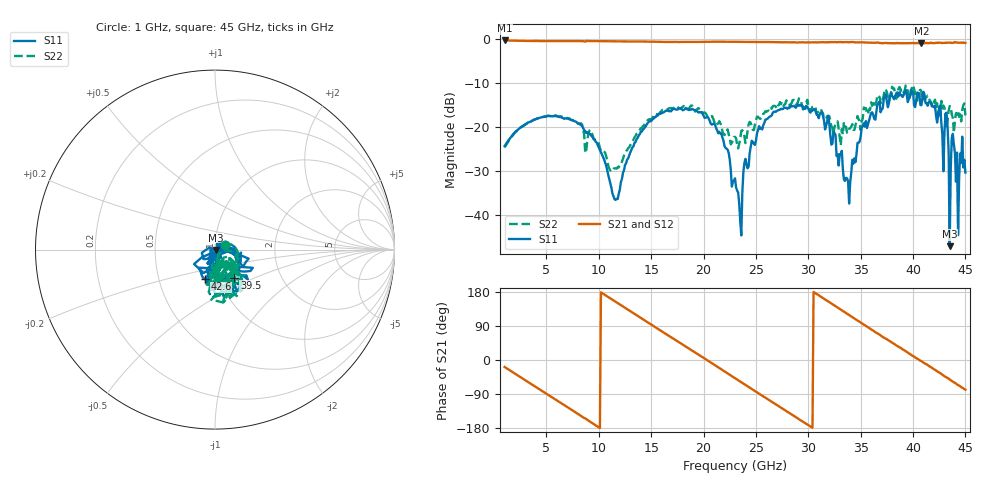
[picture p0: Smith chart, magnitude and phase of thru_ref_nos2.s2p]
!Keysight Technologies,N5247B,MY61255062,A.19.80.06
!Date: Monday, May 18, 2026 12:58:49
!Correction: S11(Cdelta 2-Port  )
!S21(Cdelta 2-Port  )
!S12(Cdelta 2-Port  )
!S22(Cdelta 2-Port  )
!S2P File: Measurements: S11, S21, S12, S22:
# Hz S  dB  R 50
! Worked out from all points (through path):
!   441 points, 1 GHz to 45 GHz, reference 50 ohm
!   highest |S21| = -0.39 dB at 1 GHz (marker M1); lowest = -1.1 dB at 40.8 GHz (marker M2)
!   group delay of S21, straight-line fit = 49.2 ps
!   lowest |S11| = -47.0 dB at 43.5 GHz (marker M3), VSWR 1.01, Z = 50.4 - j0.209 ohm
!   |S11| at or under -10 dB: start of sweep to end of sweep
!   |S22| runs from -29.9 to -10.5 dB; largest |S21 - S12| = 0.019
!   S11 on the Smith chart (normalised r, x): 1 GHz: 1.12, +0.06; 39.5 GHz: 1.17, -0.38; 42.6 GHz: 0.85, -0.29; 45 GHz: 1.05, +0.04
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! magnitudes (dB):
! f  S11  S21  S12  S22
! 1 GHz  -24.3  -0.4  -0.4  -24.6
! 4.6 GHz  -17.8  -0.5  -0.5  -17.7
! 8.4 GHz  -19.8  -0.6  -0.5  -19.5
! 11.6 GHz  -36.5  -0.6  -0.6  -29.4
! 15.7 GHz  -17.1  -0.7  -0.7  -17.1
! 20.4 GHz  -17.7  -0.7  -0.7  -17.7
! 23 GHz  -31.6  -0.7  -0.7  -22.3
! 23.5 GHz  -41.4  -0.7  -0.7  -22.7
! 24 GHz  -27.2  -0.7  -0.7  -23.7
! 26.1 GHz  -18.1  -0.7  -0.7  -16.4
! 30.4 GHz  -16.3  -0.8  -0.8  -15.4
! 33.8 GHz  -32.3  -0.8  -0.8  -21.4
! 35.3 GHz  -19.2  -0.8  -0.9  -15.6
! 37.7 GHz  -14.6  -1.0  -1.0  -14.2
! 39.5 GHz  -14.4  -1.0  -1.0  -11.9
! 40.8 GHz  -15.1  -1.1  -1.0  -11.9
! 42.6 GHz  -15.2  -0.9  -0.9  -17.4
! 43.2 GHz  -16.8  -0.9  -0.8  -19.8
! 43.5 GHz  -47.0  -0.9  -0.9  -15.3
! 43.8 GHz  -21.6  -0.9  -0.9  -17.9
! 44.2 GHz  -25.8  -0.9  -0.9  -17.2
! 45 GHz  -30.4  -0.9  -0.9  -17.4
